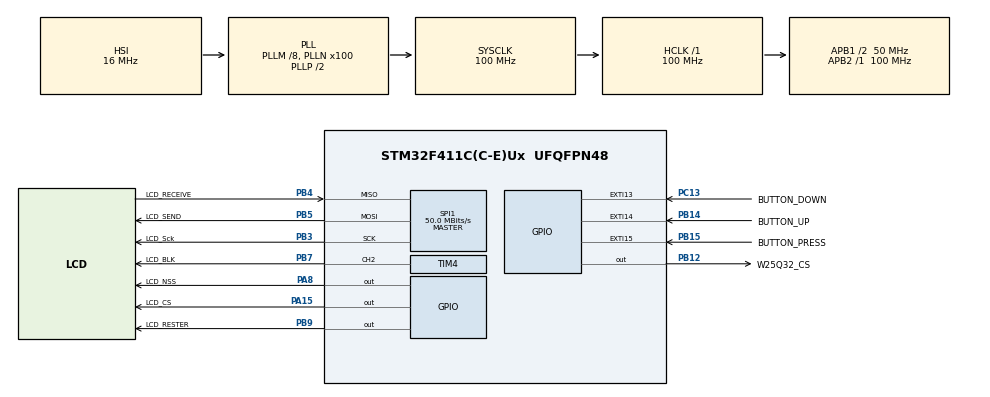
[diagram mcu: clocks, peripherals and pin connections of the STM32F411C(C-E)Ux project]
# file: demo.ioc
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Dma.Request0=SPI1_RX
Dma.Request1=SPI1_TX
Dma.SPI1_RX.0.Direction=DMA_PERIPH_TO_MEMORY
Dma.SPI1_RX.0.FIFOMode=DMA_FIFOMODE_DISABLE
Dma.SPI1_RX.0.Instance=DMA2_Stream0
Dma.SPI1_RX.0.MemDataAlignment=DMA_MDATAALIGN_BYTE
Dma.SPI1_RX.0.MemInc=DMA_MINC_ENABLE
Dma.SPI1_RX.0.Mode=DMA_NORMAL
Dma.SPI1_RX.0.PeriphDataAlignment=DMA_PDATAALIGN_BYTE
Dma.SPI1_RX.0.PeriphInc=DMA_PINC_DISABLE
Dma.SPI1_RX.0.Priority=DMA_PRIORITY_VERY_HIGH
Dma.SPI1_TX.1.Direction=DMA_MEMORY_TO_PERIPH
Dma.SPI1_TX.1.FIFOMode=DMA_FIFOMODE_DISABLE
Dma.SPI1_TX.1.Instance=DMA2_Stream2
Dma.SPI1_TX.1.MemDataAlignment=DMA_MDATAALIGN_BYTE
Dma.SPI1_TX.1.MemInc=DMA_MINC_ENABLE
Dma.SPI1_TX.1.Mode=DMA_NORMAL
Dma.SPI1_TX.1.PeriphDataAlignment=DMA_PDATAALIGN_BYTE
Dma.SPI1_TX.1.PeriphInc=DMA_PINC_DISABLE
Dma.SPI1_TX.1.Priority=DMA_PRIORITY_VERY_HIGH
Mcu.Family=STM32F4
Mcu.Name=STM32F411C(C-E)Ux
Mcu.Package=UFQFPN48
NVIC.DMA2_Stream0_IRQn=true\:0\:0\:false\:false\:true\:false\:true\:true
NVIC.DMA2_Stream2_IRQn=true\:0\:0\:false\:false\:true\:false\:true\:true
NVIC.EXTI15_10_IRQn=true\:0\:0\:false\:false\:true\:true\:true\:true
NVIC.PriorityGroup=NVIC_PRIORITYGROUP_4
NVIC.SPI1_IRQn=true\:0\:0\:false\:false\:true\:true\:true\:true
NVIC.TIM1_TRG_COM_TIM11_IRQn=true\:0\:0\:false\:false\:true\:true\:true\:true
NVIC.TIM1_UP_TIM10_IRQn=true\:15\:0\:false\:false\:true\:false\:true\:true
NVIC.TimeBase=TIM1_UP_TIM10_IRQn
NVIC.TimeBaseIP=TIM1
PA15.GPIO_Label=LCD_CS
PA15.GPIO_Speed=GPIO_SPEED_FREQ_VERY_HIGH
PA15.Signal=GPIO_Output
PA8.GPIO_Label=LCD_NSS
PA8.GPIO_Speed=GPIO_SPEED_FREQ_VERY_HIGH
PA8.Signal=GPIO_Output
PB12.GPIO_Label=W25Q32_CS
PB12.GPIO_Speed=GPIO_SPEED_FREQ_VERY_HIGH
PB12.PinState=GPIO_PIN_SET
PB12.Signal=GPIO_Output
PB14.GPIO_Label=BUTTON_UP
PB14.GPIO_ModeDefaultEXTI=GPIO_MODE_IT_RISING_FALLING
PB14.GPIO_PuPd=GPIO_PULLUP
PB14.Signal=GPXTI14
PB15.GPIO_Label=BUTTON_PRESS
PB15.GPIO_ModeDefaultEXTI=GPIO_MODE_IT_RISING_FALLING
PB15.GPIO_PuPd=GPIO_PULLUP
PB15.Signal=GPXTI15
PB3.GPIO_Label=LCD_Sck
PB3.Mode=Full_Duplex_Master
PB3.Signal=SPI1_SCK
PB4.GPIO_Label=LCD_RECEIVE
PB4.Mode=Full_Duplex_Master
PB4.Signal=SPI1_MISO
PB5.GPIO_Label=LCD_SEND
PB5.Mode=Full_Duplex_Master
PB5.Signal=SPI1_MOSI
PB7.GPIO_Label=LCD_BLK
PB7.GPIO_Speed=GPIO_SPEED_FREQ_VERY_HIGH
PB7.Signal=S_TIM4_CH2
PB9.GPIO_Label=LCD_RESTER
PB9.GPIO_Speed=GPIO_SPEED_FREQ_VERY_HIGH
PB9.Signal=GPIO_Output
PC13-ANTI_TAMP.GPIO_Label=BUTTON_DOWN
PC13-ANTI_TAMP.GPIO_ModeDefaultEXTI=GPIO_MODE_IT_RISING_FALLING
PC13-ANTI_TAMP.GPIO_PuPd=GPIO_PULLUP
PC13-ANTI_TAMP.Signal=GPXTI13
PH0\ -\ OSC_IN.Mode=HSE-External-Oscillator
PH0\ -\ OSC_IN.Signal=RCC_OSC_IN
PH1\ -\ OSC_OUT.Mode=HSE-External-Oscillator
PH1\ -\ OSC_OUT.Signal=RCC_OSC_OUT
ProjectManager.HeapSize=0x200
ProjectManager.StackSize=0x400
ProjectManager.TargetToolchain=MDK-ARM V5.32
RCC.48MHZClocksFreq_Value=50000000
RCC.AHBFreq_Value=100000000
RCC.APB1CLKDivider=RCC_HCLK_DIV2
RCC.APB1Freq_Value=50000000
RCC.APB1TimFreq_Value=100000000
RCC.APB2Freq_Value=100000000
RCC.APB2TimFreq_Value=100000000
RCC.CortexFreq_Value=100000000
RCC.HCLKFreq_Value=100000000
RCC.HSE_VALUE=16000000
RCC.HSI_VALUE=16000000
RCC.LSE_VALUE=32768
RCC.PLLM=8
RCC.PLLN=100
RCC.SYSCLKFreq_VALUE=100000000
RCC.SYSCLKSource=RCC_SYSCLKSOURCE_PLLCLK
RCC.VCOOutputFreq_Value=200000000
SH.S_TIM4_CH2.0=TIM4_CH2,PWM Generation2 CH2
SPI1.CalculateBaudRate=50.0 MBits/s
SPI1.Direction=SPI_DIRECTION_2LINES
SPI1.Mode=SPI_MODE_MASTER
SPI1.VirtualType=VM_MASTER
TIM10.Period=1000-1
TIM10.Prescaler=100-1
TIM11.Period=10000-1
TIM11.Prescaler=10000-1
TIM4.Channel-PWM\ Generation2\ CH2=TIM_CHANNEL_2
TIM4.Period=100-1
TIM4.Prescaler=100-1
VP_SYS_VS_tim1.Mode=TIM1
VP_TIM10_VS_ClockSourceINT.Mode=Enable_Timer
VP_TIM11_VS_ClockSourceINT.Mode=Enable_Timer
VP_TIM4_VS_ClockSourceINT.Mode=Internal
board=custom

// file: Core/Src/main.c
/* USER CODE BEGIN Header */
/**
  ******************************************************************************
  * @file           : main.c
  * @brief          : Main program body
  ******************************************************************************
  * @attention
  *
  * Copyright (c) 2023 STMicroelectronics.
  * All rights reserved.
  *
  * This software is licensed under terms that can be found in the LICENSE file
  * in the root directory of this software component.
  * If no LICENSE file comes with this software, it is provided AS-IS.
  *
  ******************************************************************************
  */
/* USER CODE END Header */
#include "main.h"
#include "dma.h"
#include "spi.h"
#include "tim.h"
#include "gpio.h"

void SystemClock_Config(void);

/* USER CODE BEGIN 0 */
extern uint8_t Lcd_Bck_Pwm;
/* USER CODE END 0 */

int main(void)
{

  /* MCU Configuration--------------------------------------------------------*/

  /* Reset of all peripherals, Initializes the Flash interface and the Systick. */
  HAL_Init();

  /* Configure the system clock */
  SystemClock_Config();

  /* Initialize all configured peripherals */
  MX_GPIO_Init();
  MX_DMA_Init();
  MX_SPI1_Init();
  MX_TIM10_Init();
  MX_TIM4_Init();
  MX_TIM11_Init();
  /* USER CODE BEGIN 2 */
	HAL_TIM_Base_Start_IT(&htim10);
	HAL_TIM_Base_Start_IT(&htim10);
	HAL_TIM_PWM_Start(&htim4, TIM_CHANNEL_2);
	Flash_Read_Data(&Lcd_Bck_Pwm, 1, 0x000000);
	lv_init();
	lv_port_disp_init();
	lv_port_indev_init();
	lvgl_init();
	//lvgl_home();
	//demo();
	set_bck();
  /* USER CODE END 2 */

  /* Infinite loop */
  while (1)
  {

    /* USER CODE BEGIN 3 */
		lv_task_handler();
		HAL_Delay(5);
  }
  /* USER CODE END 3 */
}

void SystemClock_Config(void)
{
  RCC_OscInitTypeDef RCC_OscInitStruct = {0};
  RCC_ClkInitTypeDef RCC_ClkInitStruct = {0};

  /** Configure the main internal regulator output voltage
  */
  __HAL_RCC_PWR_CLK_ENABLE();
  __HAL_PWR_VOLTAGESCALING_CONFIG(PWR_REGULATOR_VOLTAGE_SCALE1);

  /** Initializes the RCC Oscillators according to the specified parameters
  * in the RCC_OscInitTypeDef structure.
  */
  RCC_OscInitStruct.OscillatorType = RCC_OSCILLATORTYPE_HSI;
  RCC_OscInitStruct.HSIState = RCC_HSI_ON;
  RCC_OscInitStruct.HSICalibrationValue = RCC_HSICALIBRATION_DEFAULT;
  RCC_OscInitStruct.PLL.PLLState = RCC_PLL_ON;
  RCC_OscInitStruct.PLL.PLLSource = RCC_PLLSOURCE_HSI;
  RCC_OscInitStruct.PLL.PLLM = 8;
  RCC_OscInitStruct.PLL.PLLN = 100;
  RCC_OscInitStruct.PLL.PLLP = RCC_PLLP_DIV2;
  RCC_OscInitStruct.PLL.PLLQ = 4;
  if (HAL_RCC_OscConfig(&RCC_OscInitStruct) != HAL_OK)
  {
    Error_Handler();
  }

  /** Initializes the CPU, AHB and APB buses clocks
  */
  RCC_ClkInitStruct.ClockType = RCC_CLOCKTYPE_HCLK|RCC_CLOCKTYPE_SYSCLK
                              |RCC_CLOCKTYPE_PCLK1|RCC_CLOCKTYPE_PCLK2;
  RCC_ClkInitStruct.SYSCLKSource = RCC_SYSCLKSOURCE_PLLCLK;
  RCC_ClkInitStruct.AHBCLKDivider = RCC_SYSCLK_DIV1;
  RCC_ClkInitStruct.APB1CLKDivider = RCC_HCLK_DIV2;
  RCC_ClkInitStruct.APB2CLKDivider = RCC_HCLK_DIV1;

  if (HAL_RCC_ClockConfig(&RCC_ClkInitStruct, FLASH_LATENCY_3) != HAL_OK)
  {
    Error_Handler();
  }
}

/* USER CODE BEGIN 4 */
static uint8_t tim11_cout = 0;
/* USER CODE END 4 */

void HAL_TIM_PeriodElapsedCallback(TIM_HandleTypeDef *htim)
{
  if (htim->Instance == TIM1) {
    HAL_IncTick();
  }
  /* USER CODE BEGIN Callback 1 */
	if(htim->Instance == TIM10)
	{
		lv_tick_inc(1);
	}
	if(htim->Instance == TIM11)
	{
		tim11_cout++;
		if(tim11_cout != 1)
		{
			LCD_CS_Set();
			Flash_Erase_Page(0x000000);
			Flash_Write_Data(&Lcd_Bck_Pwm, 1, 0x000000);
			LCD_CS_Clr();
		}
	}
  /* USER CODE END Callback 1 */
}

void Error_Handler(void)
{
  __disable_irq();
  while (1)
  {
  }
}
